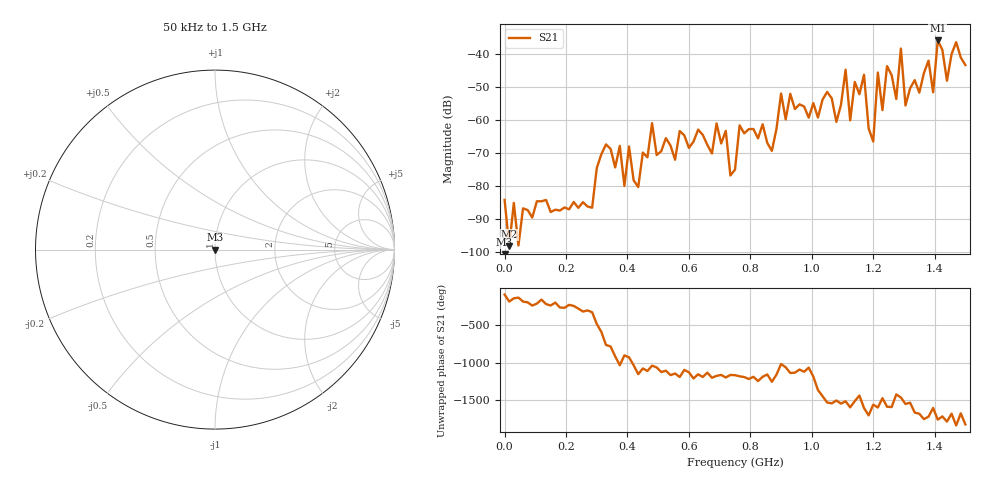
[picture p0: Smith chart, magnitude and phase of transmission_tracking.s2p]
! Created with skrf 1.8.0 (http://scikit-rf.org).
# Hz S RI R 50.0
!freq ReS11 ImS11 ReS21 ImS21 ReS12 ImS12 ReS22 ImS22
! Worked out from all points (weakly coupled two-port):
!   101 points, 50 kHz to 1.5 GHz, reference 50 ohm
!   highest |S21| = -35.86 dB at 1.41 GHz (marker M1); lowest = -98.1 dB at 15.05 MHz (marker M2)
!   lowest |S11| = - dB at 50 kHz (marker M3), VSWR 1.00, Z = 50 + j0 ohm
!   |S11| at or under -10 dB: start of sweep to end of sweep
!   S12 and S22 are empty: the file has one direction only
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50000  0 0  -1.14e-06 -6.23e-05  0 0  0 0
1.50495e7  0 0  -1.24e-05 9.63e-07  0 0  0 0
2.550415e8  0 0  4.21e-05 3.91e-05  0 0  0 0
4.80034e8  0 0  0.000661 0.000614  0 0  0 0
5.10033e8  0 0  0.000254 -0.000226  0 0  0 0
6.90027e8  0 0  -4.27e-05 -0.000893  0 0  0 0
7.50025e8  0 0  1.97e-05 -0.000178  0 0  0 0
7.650245e8  0 0  -0.000125 -0.000828  0 0  0 0
8.70021e8  0 0  -0.00034 -5e-05  0 0  0 0
9.0002e8  0 0  0.00109 0.00229  0 0  0 0
1.005016e9  0 0  -0.000414 -0.00177  0 0  0 0
1.080014e9  0 0  0.000464 -0.000823  0 0  0 0
1.110013e9  0 0  0.00191 -0.00549  0 0  0 0
1.125012e9  0 0  -0.000876 -0.000471  0 0  0 0
1.170011e9  0 0  -0.0046 -0.00164  0 0  0 0
1.20001e9  0 0  -0.000208 -0.000427  0 0  0 0
1.21501e9  0 0  -0.00473 -0.00232  0 0  0 0
1.230009e9  0 0  0.00124 -0.000698  0 0  0 0
1.260008e9  0 0  -0.00403 -0.00259  0 0  0 0
1.395004e9  0 0  -0.00247 -0.000936  0 0  0 0
1.410003e9  0 0  0.0114 0.0114  0 0  0 0
1.5e9  0 0  0.00647 -0.00221  0 0  0 0
